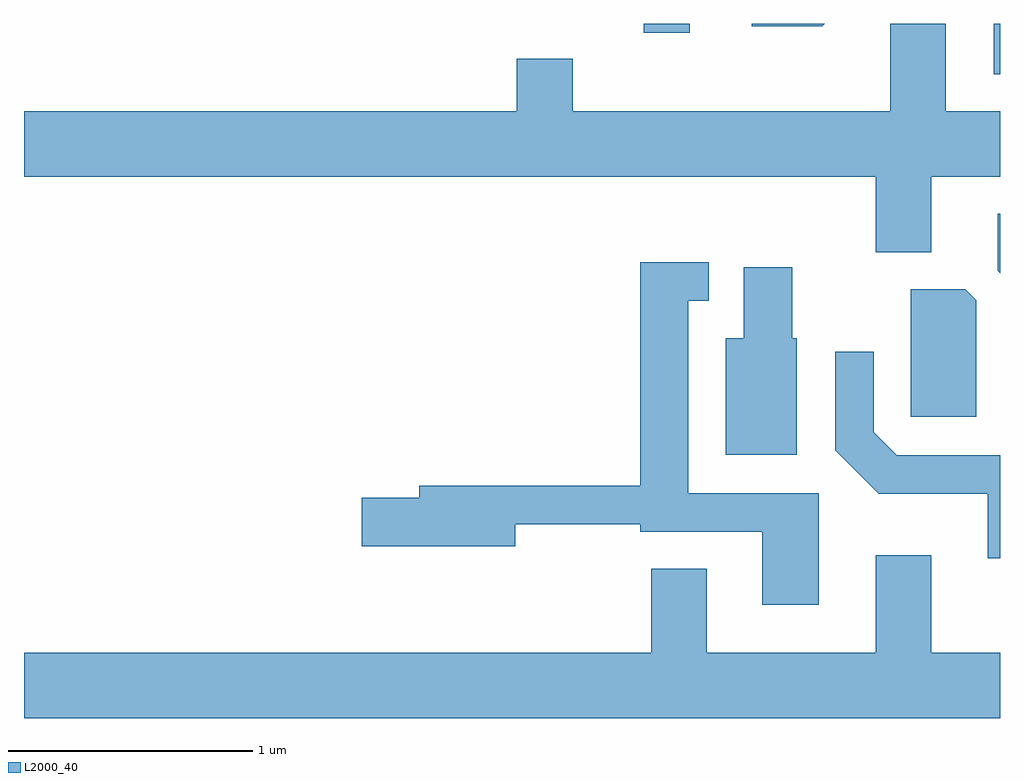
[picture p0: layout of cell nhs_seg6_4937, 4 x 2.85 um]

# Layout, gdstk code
import gdstk
lib = gdstk.Library(unit=1e-6, precision=1e-09)
def R(c, l, rs):  # rectangles x0, y0, x1, y1
    for r in rs: c.add(gdstk.rectangle(r[:2], r[2:], *l))
def P(c, l, *ps):  # polygons
    for p in ps: c.add(gdstk.Polygon(p, *l))
L2000_40 = (2000, 40)

nhs_seg6_4937 = lib.new_cell('nhs_seg6_4937')
R(nhs_seg6_4937, L2000_40, [(339.586,1605.956,339.611,1606.162), (338.151,1606.126,338.339,1606.162)])
P(nhs_seg6_4937, L2000_40, [(339.329,1605.536),(339.611,1605.536),(339.611,1605.804),(339.389,1605.804),(339.389,1606.162),(339.161,1606.162),(339.161,1605.804),(337.859,1605.804),(337.859,1606.019),(337.631,1606.019),(337.631,1605.804),(335.611,1605.804),(335.611,1605.536),(339.101,1605.536),(339.101,1605.226),(339.329,1605.226)],
  [(338.893,1606.162),(338.593,1606.162),(338.593,1606.151),(338.882,1606.151)],
  [(339.611,1605.383),(339.601,1605.383),(339.601,1605.149),(339.611,1605.139)],
  [(338.869,1604.239),(338.334,1604.239),(338.334,1605.026),(338.418,1605.026),(338.418,1605.184),(338.136,1605.184),(338.136,1604.269),(337.231,1604.269),(337.231,1604.219),(336.996,1604.219),(336.996,1604.021),(337.624,1604.021),(337.624,1604.111),(338.136,1604.111),(338.136,1604.081),(338.636,1604.081),(338.636,1603.781),(338.869,1603.781)],
  [(338.779,1604.874),(338.759,1604.874),(338.759,1605.164),(338.561,1605.164),(338.561,1604.874),(338.486,1604.874),(338.486,1604.396),(338.779,1604.396)],
  [(339.514,1605.029),(339.469,1605.074),(339.246,1605.074),(339.246,1604.551),(339.514,1604.551)],
  [(339.611,1604.394),(339.187,1604.394),(339.094,1604.487),(339.094,1604.818),(338.936,1604.818),(338.936,1604.414),(339.114,1604.236),(339.561,1604.236),(339.561,1603.971),(339.611,1603.971)],
  [(339.611,1603.584),(339.329,1603.584),(339.329,1603.984),(339.101,1603.984),(339.101,1603.584),(338.409,1603.584),(338.409,1603.929),(338.181,1603.929),(338.181,1603.584),(335.611,1603.584),(335.611,1603.316),(339.611,1603.316)])

lib.write_gds('nhs_seg6_4937.gds')
